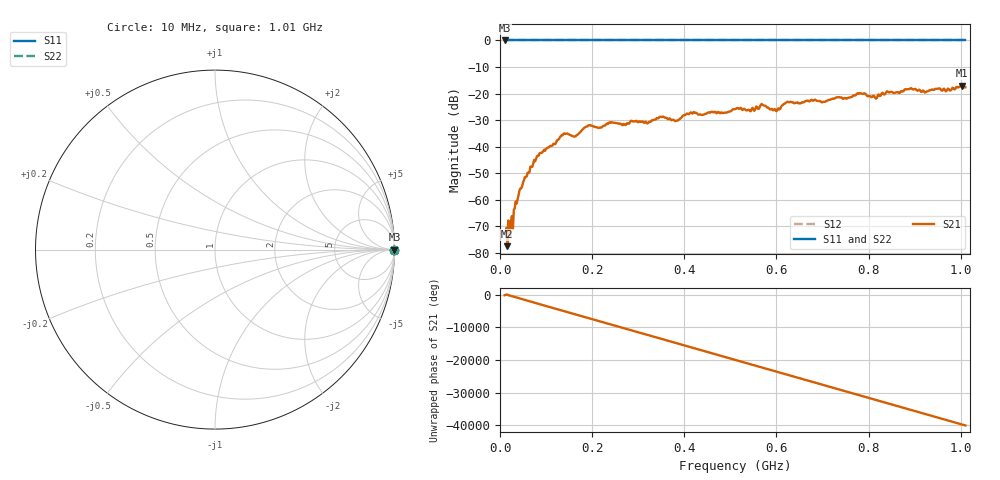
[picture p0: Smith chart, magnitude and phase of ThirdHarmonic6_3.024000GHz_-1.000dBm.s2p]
! 8/17/2025 8:42:44 AM
! C:\ANRITSUVNA\TEMP\TEMP.S2P
! CHANNEL.1
! TR.MEASUREMENT
! RAW.DATA
! RF.CORRECTION.OFF
! AVERAGING.OFF
! IF.BANDWIDTH: 5KHZ
! SWEEPTYPE:  FREQ.SWEEP(Linear)
! Reference Plane Port Info
! PORT:  PORT1  PORT2
! DISTANCE:  0  m  0  m
! TIME:  0  s  0  s
! PHASE.OFFSET:  0  deg.  0  deg.
! LOSS:  0  dB  0  dB
! REF.LOSS:  0  dB  0  dB
! REF.FREQ:  0  Hz  0  Hz
! Power Info
! POWER:  -20  dBm  -20  dBm
! EFF.POWER:  -20  dBm  -20  dBm
! SOURCE.ATTEN:  0  dB  0  dB
! TEST.ATTEN:  0  dB  0  dB
# GHZ S RI R 50.0
! FREQ.GHZ  S11RE  S11IM  S21RE  S21IM  S12RE  S12IM  S22RE  S22IM
!; PortSelection: Port_12
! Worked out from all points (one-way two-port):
!   501 points, 10 MHz to 1.01 GHz, reference 50 ohm
!   highest |S21| = -17.09 dB at 1.002 GHz (marker M1); lowest = -77.6 dB at 16 MHz (marker M2)
!   lowest |S11| = 0.0 dB at 10 MHz (marker M3)
!   |S11| at or under -10 dB: nowhere
!   |S22| runs from 0.0 to 0.0 dB; largest |S21 - S12| = 1.1
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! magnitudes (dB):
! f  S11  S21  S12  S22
! 10 MHz  0.0  -72.6  0.0  0.0
! 16 MHz  0.0  -77.6  0.0  0.0
! 24 MHz  0.0  -67.8  0.0  0.0
! 34 MHz  0.0  -60.7  0.0  0.0
! 52 MHz  0.0  -52.7  0.0  0.0
! 84 MHz  0.0  -43.4  0.0  0.0
! 136 MHz  0.0  -35.7  0.0  0.0
! 162 MHz  0.0  -36.2  0.0  0.0
! 178 MHz  0.0  -33.8  0.0  0.0
! 344 MHz  0.0  -29.3  0.0  0.0
! 384 MHz  0.0  -30.2  0.0  0.0
! 416 MHz  0.0  -27.4  0.0  0.0
! 510 MHz  0.0  -25.9  0.0  0.0
! 570 MHz  0.0  -24.3  0.0  0.0
! 598 MHz  0.0  -26.4  0.0  0.0
! 624 MHz  0.0  -23.1  0.0  0.0
! 678 MHz  0.0  -22.7  0.0  0.0
! 780 MHz  0.0  -20.0  0.0  0.0
! 814 MHz  0.0  -21.6  0.0  0.0
! 844 MHz  0.0  -19.6  0.0  0.0
! 1.002 GHz  0.0  -17.1  0.0  0.0
! 1.01 GHz  0.0  -17.6  0.0  0.0
